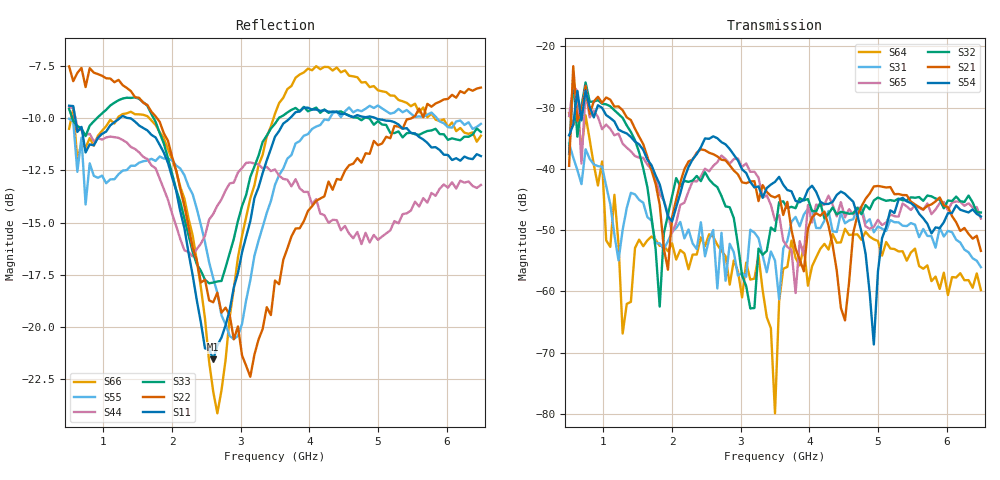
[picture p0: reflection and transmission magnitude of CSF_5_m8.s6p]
!Keysight Technologies,M9804A,MY58100912,A.14.10.03
!Date: Thursday, April 27, 2023 10:28:33
!Correction: S11(C  6-Port  )
!S12(C  6-Port  )
!S13(C  6-Port  )
!S14(C  6-Port  )
!S15(C  6-Port  )
!S16(C  6-Port  )
!S21(C  6-Port  )
!S22(C  6-Port  )
!S23(C  6-Port  )
!S24(C  6-Port  )
!S25(C  6-Port  )
!S26(C  6-Port  )
!S31(C  6-Port  )
!S32(C  6-Port  )
!S33(C  6-Port  )
!S34(C  6-Port  )
!S35(C  6-Port  )
!S36(C  6-Port  )
!S41(C  6-Port  )
!S42(C  6-Port  )
!S43(C  6-Port  )
!S44(C  6-Port  )
!S45(C  6-Port  )
!S46(C  6-Port  )
!S51(C  6-Port  )
!S52(C  6-Port  )
!S53(C  6-Port  )
!S54(C  6-Port  )
!S55(C  6-Port  )
!S56(C  6-Port  )
!S61(C  6-Port  )
!S62(C  6-Port  )
!S63(C  6-Port  )
!S64(C  6-Port  )
!S65(C  6-Port  )
!S66(C  6-Port  )
!S6P File: Measurement: :
# Hz S  RI  R 50
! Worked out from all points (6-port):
!   101 points, 500 MHz to 6.5 GHz, reference 50 ohm
!   strongest paths, dB at 500 MHz, 2 GHz, 3.5 GHz, 5 GHz, 6.5 GHz:
!     S54: -34.5, -48.6, -42.1, -56.7, -47.8
!     S21: -39.5, -47.9, -44.7, -42.8, -53.4
!     S32: -37.6, -44.5, -50.1, -44.7, -47.1
!     S65: -31.4, -50.4, -48.4, -48.3, -48.1
!     S31: -35.8, -50.3, -55.0, -49.4, -56.0
!     S64: -30.9, -52.2, -79.9, -51.8, -59.8
!   lowest |S11| = -21.6 dB at 2.6 GHz (marker M1), VSWR 1.18, Z = 42.5 + j2.07 ohm
!   |S11| at or under -10 dB: 588.4 MHz to 1.236 GHz (647.5 MHz wide, 71 % of centre); 1.389 GHz to 3.715 GHz (2.326 GHz wide, 91.1 % of centre); 4.97 GHz to end of sweep
